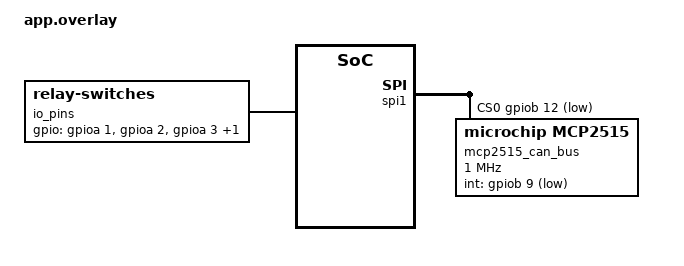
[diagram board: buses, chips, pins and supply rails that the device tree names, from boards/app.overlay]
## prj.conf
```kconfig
CONFIG_SENSOR=y
CONFIG_ADC=y
CONFIG_PWM=y

# CONFIG_POLL=y
# CONFIG_CAN=y
# CONFIG_CAN_INIT_PRIORITY=80
# CONFIG_CAN_MAX_FILTER=5
# CONFIG_LOOPBACK_MODE=y
# 
# CONFIG_SHELL=y
# CONFIG_CAN_SHELL=y
# CONFIG_DEVICE_SHELL=y

CONFIG_GPIO=y
# CONFIG_STATS=y
# CONFIG_STATS_NAMES=y
# CONFIG_STATS_SHELL=y
# CONFIG_CAN_STATS=y

# CONFIG_CONSOLE=y
# CONFIG_RAM_CONSOLE=y
# CONFIG_RAM_CONSOLE_BUFFER_SIZE=1024
# CONFIG_USE_SEGGER_RTT=y
# CONFIG_RTT_CONSOLE=y

CONFIG_CANARD=y
CONFIG_LOG=y
```

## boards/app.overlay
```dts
/ {
	io_pins: relay-switches {
		compatible = "relay-switches";
		gpios = <&gpioa 1 GPIO_ACTIVE_HIGH>,
			<&gpioa 2 GPIO_ACTIVE_HIGH>, 
			<&gpioa 3 GPIO_ACTIVE_HIGH>, 
			<&gpioa 4 GPIO_ACTIVE_HIGH>;
	};

        chosen {
                zephyr,canbus = &mcp2515_can_bus;
        };

};


&spi1 {
        status = "okay";
        cs-gpios = <&gpiob 12 GPIO_ACTIVE_LOW>;
        mcp2515_can_bus: can@0 {
                compatible = "microchip,mcp2515";
                spi-max-frequency = <1000000>;
                int-gpios = <&gpiob 9 GPIO_ACTIVE_LOW>; /* B9 */
                status = "okay";
                reg = <0x0>;
                osc-freq = <8000000>;
                bus-speed = <125000>;
                sjw = <1>;
                sample-point = <875>;

                can-transceiver {
                        max-bitrate = <1000000>;
                };
        };
};
```

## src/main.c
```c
#include <zephyr/device.h>
#include <zephyr/devicetree.h>
#include <zephyr/drivers/gpio.h>
#include <zephyr/drivers/can.h>
#include <zephyr/kernel.h>
#include <zephyr/sys/util.h>
#include <zephyr/logging/log.h>
#include <app_version.h>

#include <kycan.h>

#ifdef CONFIG_LOOPBACK_MODE
	#define TX_THREAD_STACK_SIZE 512
	#define TX_THREAD_PRIORITY 2

	K_THREAD_STACK_DEFINE(tx_thread_stack, TX_THREAD_STACK_SIZE);

#endif

LOG_MODULE_REGISTER(main, CONFIG_LOG_DEFAULT_LEVEL);
CAN_MSGQ_DEFINE(rx_msgq, 10);

/* DT spec for gpio pins */
const struct gpio_dt_spec gpio_1 = GPIO_DT_SPEC_GET_BY_IDX(DT_NODELABEL(io_pins), gpios, 0);
const struct gpio_dt_spec gpio_2 = GPIO_DT_SPEC_GET_BY_IDX(DT_NODELABEL(io_pins), gpios, 1);
const struct gpio_dt_spec gpio_3 = GPIO_DT_SPEC_GET_BY_IDX(DT_NODELABEL(io_pins), gpios, 2);
const struct gpio_dt_spec gpio_4 = GPIO_DT_SPEC_GET_BY_IDX(DT_NODELABEL(io_pins), gpios, 3);

/* DT spec for led*/
static const struct gpio_dt_spec led = GPIO_DT_SPEC_GET(DT_ALIAS(led0), gpios);

/* DT spec for can module */
const struct device *const can_dev = DEVICE_DT_GET(DT_CHOSEN(zephyr_canbus));

/* can filter for fpv switch */
struct can_filter fpv_filter = {
	.flags = CAN_FILTER_DATA | CAN_FILTER_IDE,
	.id = FPV_SWITCH_ID,
	.mask = CAN_EXT_ID_MASK,
};

struct can_frame fpv_switch_rx_frame;


#ifdef CONFIG_LOOPBACK_MODE
	
	struct can_frame fpv_switch_tx_frame = {
		.flags = CAN_FRAME_IDE,
		.id = FPV_SWITCH_ID,
	};

	struct k_thread tx_thread_data;

	void tx_thread(void *unused1, void *unused2, void *unused3)
	{
		int count = 0;
		while (1) {	
			fpv_switch_tx_frame.dlc = 6;
			fpv_switch_tx_frame.data[5] = (uint8_t)count;
			count++;
		
			can_send(can_dev, &fpv_switch_tx_frame, K_MSEC(100), NULL, NULL);
			LOG_INF("CAN frame sent: ID: %d", fpv_switch_tx_frame.id);
			LOG_INF("CAN frame data: %d", fpv_switch_tx_frame.data[5]);
			k_sleep(K_SECONDS(1));
		}

		return;
	}
#endif


int main(void)
{
	printk("\nFPV-Switch: v%s\n\n", APP_VERSION_STRING);
	
	int err;

	/* Device ready checks */

	if (!gpio_is_ready_dt(&gpio_1)) {
		LOG_ERR("GPIO 1 : Pin not ready\n");
		return 0;
    };

	if (!gpio_is_ready_dt(&gpio_2)) {
		LOG_ERR("GPIO 2 : Pin not ready\n");
		return 0;
    };
	
	if (!gpio_is_ready_dt(&gpio_3)) {
		LOG_ERR("GPIO 3 : Pin not ready\n");
		return 0;
    };

	if (!gpio_is_ready_dt(&gpio_4)) {
		LOG_ERR("GPIO 4 : Pin not ready\n");
		return 0;
    };

	if (!device_is_ready(can_dev)) {
		LOG_ERR("CAN: Device %s not ready.\n", can_dev->name);
		return 0;
	}

	/* Start up configurations */

	err = gpio_pin_configure_dt(&gpio_1, GPIO_OUTPUT_INACTIVE);
	if (err != 0) {
		LOG_ERR("Error %d: failed to configure %s pin %d\n",
				err, gpio_1.port->name, gpio_1.pin);
		return 0;
	}

	err = gpio_pin_configure_dt(&gpio_2, GPIO_OUTPUT_INACTIVE);
	if (err != 0) {
		LOG_ERR("Error %d: failed to configure %s pin %d\n",
				err, gpio_2.port->name, gpio_2.pin);
		return 0;
	}

	err = gpio_pin_configure_dt(&gpio_3, GPIO_OUTPUT_INACTIVE);
	if (err != 0) {
		LOG_ERR("Error %d: failed to configure %s pin %d\n",
				err, gpio_3.port->name, gpio_3.pin);
		return 0;
	}

	err = gpio_pin_configure_dt(&gpio_4, GPIO_OUTPUT_INACTIVE);
	if (err != 0) {
		LOG_ERR("Error %d: failed to configure %s pin %d\n",
				err, gpio_4.port->name, gpio_4.pin);
		return 0;
	}


#ifdef CONFIG_LOOPBACK_MODE
	k_tid_t tx_tid;

	if (can_set_mode(can_dev, CAN_MODE_LOOPBACK)) {
		LOG_ERR("Error setting CAN mode");
		return 0;
	}
	
	if (can_start(can_dev)) {
		LOG_ERR("Error starting CAN controller.\n");
		return 0;
	}

	int filter_id = can_add_rx_filter_msgq(can_dev, &rx_msgq, &fpv_filter);
	if (filter_id < 0)
	{
		LOG_ERR("Unable to add rx msgq [%d]", filter_id);
		return 0;
	}

	tx_tid = k_thread_create(&tx_thread_data, tx_thread_stack,
				 K_THREAD_STACK_SIZEOF(tx_thread_stack),
				 tx_thread, NULL, NULL, NULL,
				 TX_THREAD_PRIORITY, 0, K_NO_WAIT);

	if (!tx_tid) {
		LOG_ERR("ERROR spawning tx thread\n");
	}

#endif

	if (can_start(can_dev)) {
		LOG_ERR("Error starting CAN controller.\n");
		return 0;
	}

	int filter_id = can_add_rx_filter_msgq(can_dev, &rx_msgq, &fpv_filter);
	if (filter_id < 0)
	{
		LOG_ERR("Unable to add rx msgq [%d]", filter_id);
		return 0;
	}

	err = gpio_pin_configure_dt(&led, GPIO_OUTPUT_ACTIVE);
	if (err != 0) {
		LOG_ERR("Error : LED not configured\n");
		return 0;
	}

	LOG_INF("Initialization completed successfully\n");


	while(1) {

		k_msgq_get(&rx_msgq, &fpv_switch_rx_frame, K_FOREVER);
		
		struct can_frame frame = fpv_switch_rx_frame;

		switch (frame.data[5]) {	
			
		case 0:
			gpio_pin_set_dt(&gpio_1, 1);
			gpio_pin_set_dt(&gpio_2, 0);
			gpio_pin_set_dt(&gpio_3, 0);
			gpio_pin_set_dt(&gpio_4, 0);
			break;
		case 1:
            gpio_pin_set_dt(&gpio_1, 0);
            gpio_pin_set_dt(&gpio_2, 1);
            gpio_pin_set_dt(&gpio_3, 0);
            gpio_pin_set_dt(&gpio_4, 0);
			break;
		case 2:
            gpio_pin_set_dt(&gpio_1, 0);
            gpio_pin_set_dt(&gpio_2, 0);
            gpio_pin_set_dt(&gpio_3, 1);
            gpio_pin_set_dt(&gpio_4, 0);
            break;
		case 3:
            gpio_pin_set_dt(&gpio_1, 0);
            gpio_pin_set_dt(&gpio_2, 0);
            gpio_pin_set_dt(&gpio_3, 0);
            gpio_pin_set_dt(&gpio_4, 1);
            break;
		}

		gpio_pin_toggle_dt(&led);
	}
	return 0;
}
```
